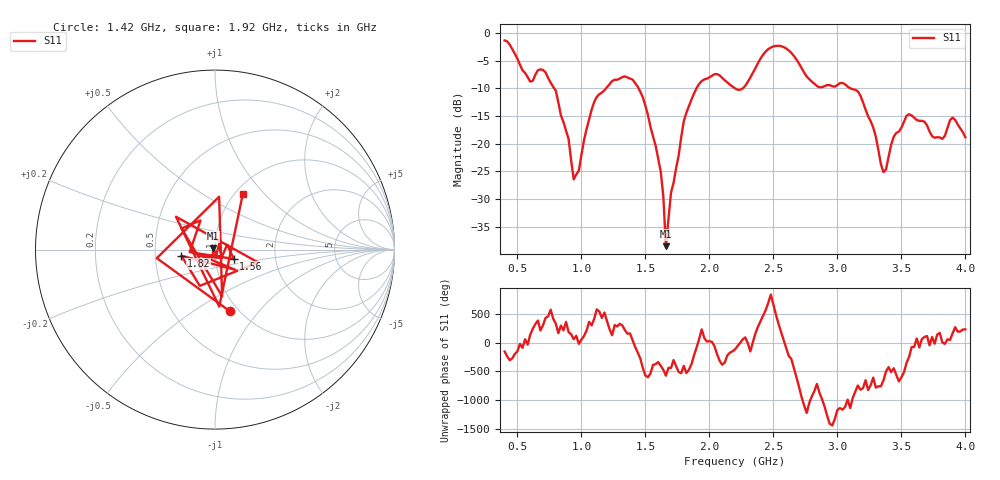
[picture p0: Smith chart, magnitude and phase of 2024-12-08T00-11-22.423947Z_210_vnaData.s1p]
!Created with skrf (http://scikit-rf.org).
# Hz S RI R 50.0
!freq ReS11 ImS11
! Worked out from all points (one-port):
!   181 points, 400 MHz to 4 GHz, reference 50 ohm
!   lowest |S11| = -38.5 dB at 1.66 GHz (marker M1), VSWR 1.02, Z = 49 + j0.676 ohm
!   |S11| at or under -10 dB: 787.7 MHz to 1.193 GHz (405 MHz wide, 40.9 % of centre); 1.447 GHz to 1.899 GHz (452 MHz wide, 27 % of centre); 3.101 GHz to end of sweep (the widest 3 of 4)
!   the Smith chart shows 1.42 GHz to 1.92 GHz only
!   S11 on the Smith chart (normalised r, x): 1.42 GHz: 0.91, -0.71; 1.56 GHz: 1.22, -0.13; 1.82 GHz: 0.68, -0.05; 1.92 GHz: 1.09, +0.77
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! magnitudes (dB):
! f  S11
! 400 MHz  -1.4
! 600 MHz  -8.8
! 720 MHz  -7.1
! 860 MHz  -16.1
! 940 MHz  -26.4
! 1.1 GHz  -12.4
! 1.3 GHz  -8.2
! 1.42 GHz  -9.1
! 1.56 GHz  -18.7
! 1.62 GHz  -25.1
! 1.64 GHz  -29.5
! 1.66 GHz  -38.5
! 1.7 GHz  -28.8
! 1.76 GHz  -22.1
! 1.82 GHz  -14.4
! 1.92 GHz  -9.2
! 2.2 GHz  -10.0
! 2.48 GHz  -2.6
! 2.66 GHz  -4.1
! 2.84 GHz  -9.6
! 3.1 GHz  -10.0
! 3.28 GHz  -17.1
! 3.36 GHz  -25.1
! 3.44 GHz  -18.8
! 3.56 GHz  -14.7
! 3.82 GHz  -19.1
! 3.9 GHz  -15.3
! 4 GHz  -18.8
